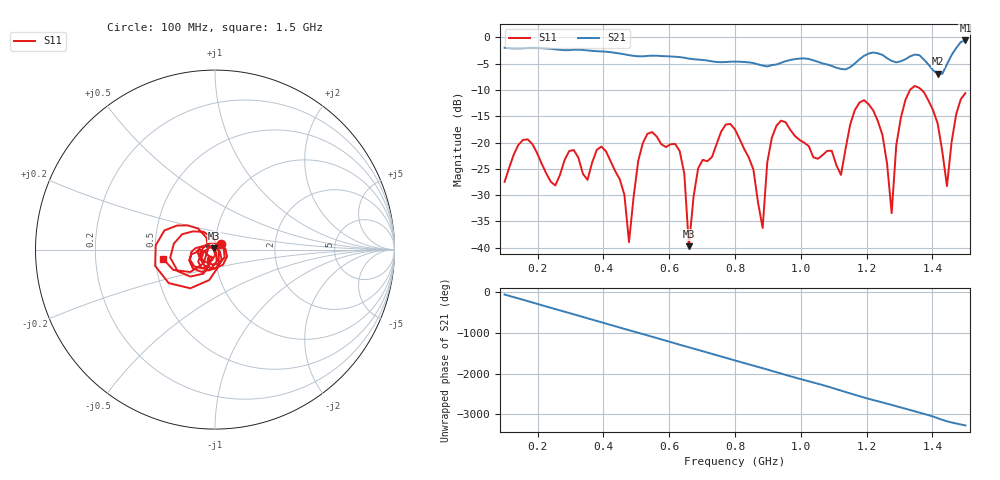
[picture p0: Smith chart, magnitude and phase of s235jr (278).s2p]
! NanoVNA-App
! Date: 2025-09-25 15:06:19
! Start: 100MHz Stop: 1,5GHz Points: 101
! S-Parameter data: F S11 S21 S12 S22
# Hz S RI R 50
!  Frequency  S11_Real  S11_Imag  S21_Real  S21_Imag  S12_Real  S12_Imag  S22_Real  S22_Imag
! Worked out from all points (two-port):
!   101 points, 100 MHz to 1.5 GHz, reference 50 ohm
!   highest |S21| = -0.57 dB at 1.5 GHz (marker M1); lowest = -6.9 dB at 1.416 GHz (marker M2)
!   |S21| within 3 dB of the highest: start of sweep to 503.6 MHz; 523.7 MHz to 590.8 MHz (67.01 MHz wide, 12 % of centre) (the widest 2 of 5)
!   lowest |S11| = -39.7 dB at 660 MHz (marker M3), VSWR 1.02, Z = 49.2 + j0.636 ohm
!   |S11| at or under -10 dB: start of sweep to 1.332 GHz; 1.367 GHz to end of sweep
!   S12 and S22 are empty: the file has one direction only
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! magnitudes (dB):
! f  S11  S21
! 100 MHz  -27.5  -2.0
! 170 MHz  -19.4  -2.0
! 338 MHz  -26.0  -2.4
! 408 MHz  -21.7  -2.7
! 478 MHz  -38.9  -3.4
! 520 MHz  -20.1  -3.6
! 576 MHz  -20.3  -3.5
! 632 MHz  -21.6  -3.7
! 660 MHz  -39.7  -4.0
! 688 MHz  -24.9  -4.2
! 800 MHz  -17.5  -4.6
! 884 MHz  -36.2  -5.4
! 926 MHz  -16.8  -5.1
! 1.038 GHz  -22.8  -4.3
! 1.122 GHz  -26.1  -6.0
! 1.192 GHz  -11.9  -3.5
! 1.248 GHz  -18.6  -3.3
! 1.276 GHz  -33.4  -4.5
! 1.332 GHz  -9.9  -3.6
! 1.416 GHz  -16.4  -6.9
! 1.444 GHz  -28.3  -5.1
! 1.5 GHz  -10.6  -0.6
